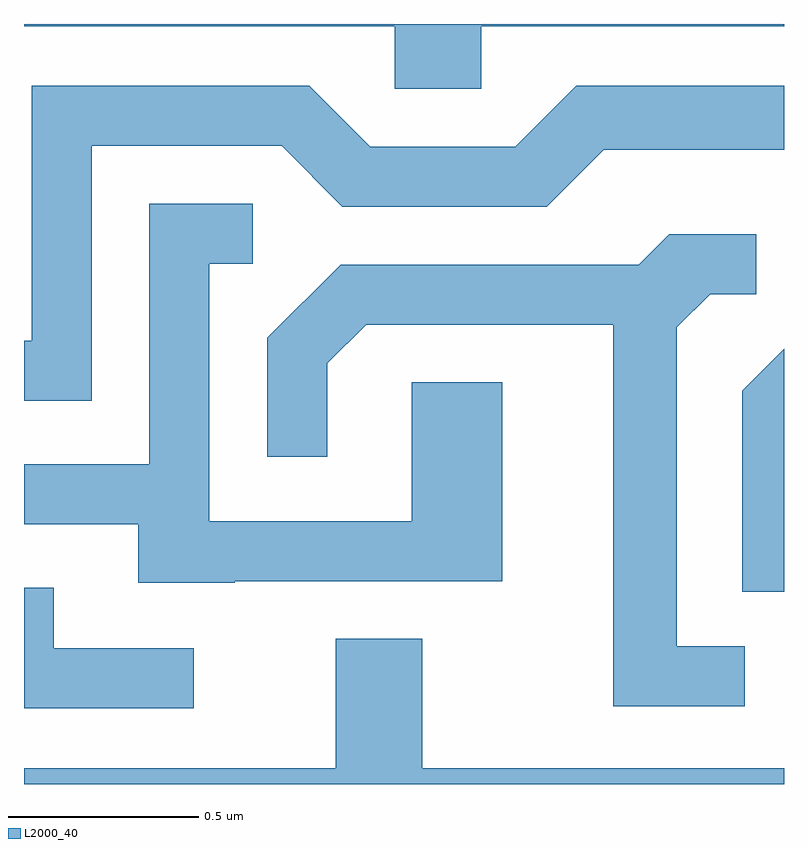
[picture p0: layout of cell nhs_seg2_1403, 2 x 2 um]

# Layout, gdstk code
import gdstk
lib = gdstk.Library(unit=1e-6, precision=1e-09)
def P(c, l, *ps):  # polygons
    for p in ps: c.add(gdstk.Polygon(p, *l))
L2000_40 = (2000, 40)

nhs_seg2_1403 = lib.new_cell('nhs_seg2_1403')
P(nhs_seg2_1403, L2000_40, [(196.814,1012.796),(197.611,1012.796),(197.611,1012.802),(195.611,1012.802),(195.611,1012.796),(196.586,1012.796),(196.586,1012.631),(196.814,1012.631)],
  [(195.789,1012.481),(196.289,1012.481),(196.449,1012.321),(196.987,1012.321),(197.137,1012.471),(197.611,1012.471),(197.611,1012.639),(197.064,1012.639),(196.904,1012.479),(196.522,1012.479),(196.362,1012.639),(195.631,1012.639),(195.631,1011.969),(195.611,1011.969),(195.611,1011.811),(195.789,1011.811)],
  [(196.165,1011.336),(196.869,1011.336),(196.869,1011.859),(196.631,1011.859),(196.631,1011.494),(196.099,1011.494),(196.099,1012.171),(196.213,1012.171),(196.213,1012.329),(195.941,1012.329),(195.941,1011.644),(195.611,1011.644),(195.611,1011.486),(195.911,1011.486),(195.911,1011.331),(196.165,1011.331)],
  [(197.508,1011.164),(197.329,1011.164),(197.329,1012.004),(197.417,1012.091),(197.538,1012.091),(197.538,1012.249),(197.309,1012.249),(197.229,1012.169),(196.444,1012.169),(196.251,1011.977),(196.251,1011.663),(196.409,1011.663),(196.409,1011.909),(196.512,1012.011),(197.161,1012.011),(197.161,1011.006),(197.508,1011.006)],
  [(197.611,1011.947),(197.501,1011.837),(197.501,1011.308),(197.611,1011.308)],
  [(196.058,1011.159),(195.689,1011.159),(195.689,1011.319),(195.611,1011.319),(195.611,1011.001),(196.058,1011.001)],
  [(197.611,1010.844),(196.659,1010.844),(196.659,1011.184),(196.431,1011.184),(196.431,1010.844),(195.611,1010.844),(195.611,1010.802),(197.611,1010.802)])

lib.write_gds('nhs_seg2_1403.gds')
